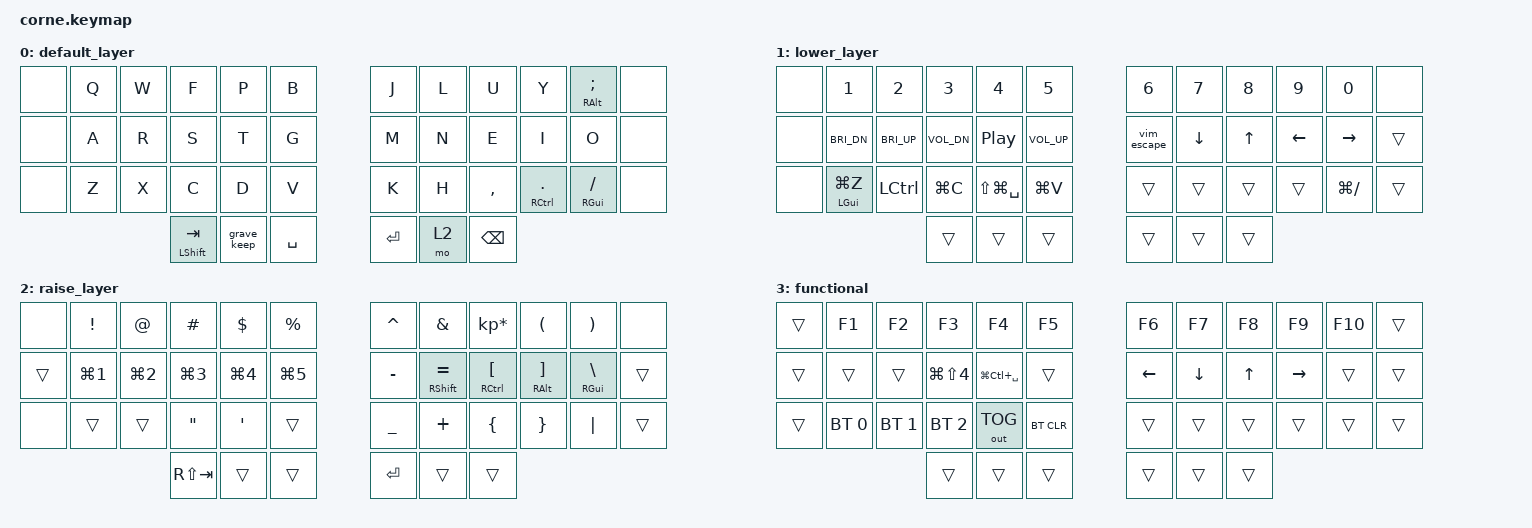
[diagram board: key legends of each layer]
/*
 * Copyright (c) 2020 The ZMK Contributors
 *
 * SPDX-License-Identifier: MIT
 */

#include <behaviors.dtsi>
#include <dt-bindings/zmk/bt.h>
#include <dt-bindings/zmk/keys.h>
#include <dt-bindings/zmk/outputs.h>

/ {
    behaviors {
        hm: homerow_mods {
            compatible = "zmk,behavior-hold-tap";
            label = "HOMEROW_MODS";
            bindings =
                <&kp>,
                <&kp>;

            #binding-cells = <2>;
            tapping-term-ms = <190>;
            quick-tap-ms = <100>;
            flavor = "balanced";
        };
        grave_keep: grave_keep {
            compatible = "zmk,behavior-mod-morph";
            label = "GRAVE_KEEP";
            bindings =
                <&lt_hold 1 ESCAPE>,
                <&kp GRAVE>;

            #binding-cells = <0>;
            mods = <(MOD_LSFT|MOD_LGUI|MOD_RSFT|MOD_RGUI|MOD_RALT|MOD_LALT)>;
            keep-mods = <(MOD_LGUI|MOD_RGUI|MOD_LALT|MOD_LSFT)>;
        };
        lt_hold: lt_hold {
            compatible = "zmk,behavior-hold-tap";
            label = "LT_HOLD";
            bindings =
                <&mo>,
                <&kp>;

            #binding-cells = <2>;
            tapping-term-ms = <400>;
            flavor = "hold-preferred";
        };
        mt_balanced: mt_balanced {
            compatible = "zmk,behavior-hold-tap";
            label = "MT_BALANCED";
            bindings =
                <&kp>,
                <&kp>;

            #binding-cells = <2>;
            tapping-term-ms = <200>;
            quick-tap-ms = <150>;
            flavor = "balanced";
        };
    };

    macros {
        vim_escape: vim_escape {
            compatible = "zmk,behavior-macro";
            label = "vim_escape";
            #binding-cells = <0>;
            bindings = <&kp ESCAPE &kp COLON>;
        };
    };

    conditional_layers {
        compatible = "zmk,conditional-layers";

        tri_layer {
            if-layers = <1 2>;
            then-layer = <3>;
        };
    };

    keymap {
        compatible = "zmk,keymap";

        default_layer {
            // -----------------------------------------------------------------------------------------
            // |  TAB |  Q  |  W  |  F  |  P  |  B  |   |  J  |  L   |  U  |  Y  |  ;  | BKSP |
            // | CTRL |  A  |  R  |  S  |  T  |  G  |   |  M  |  N   |  E  |  I  |  O  |  '   |
            // | SHFT |  Z  |  X  |  C  |  D  |  V  |   |  K  |  H   |  ,  |  .  |  /  | ESC  |
            //                    | GUI | LWR | SPC |   | ENT | RSE  | ALT |

            bindings = <
&none  &kp Q  &kp W               &kp F        &kp P      &kp B      &kp J  &kp L          &kp U          &kp Y  &hm RIGHT_ALT SEMICOLON  &none
&none  &kp A  &kp R               &kp S        &kp T      &kp G      &kp M  &kp N          &kp E          &kp I                    &kp O  &none
&none  &kp Z  &kp X               &kp C        &kp D      &kp V      &kp K  &kp H      &kp COMMA  &hm RCTRL DOT      &hm RIGHT_GUI SLASH  &none
                     &mt LEFT_SHIFT TAB  &grave_keep  &kp SPACE    &kp RET  &mo 2  &kp BACKSPACE
            >;
        };

        lower_layer {
            // -----------------------------------------------------------------------------------------
            // |  TAB |  1  |  2  |  3  |  4  |  5  |   |  6  |  7  |  8  |  9  |  0  | BKSP |
            // | CTRL |  B- |  B+ |  V- |  PP |  V+ |   | LFT | DWN |  UP | RGT |     |      |
            // | SHFT |     |     |     |     |     |   |     |     |     |     |     |      |
            //                    | GUI |     | SPC |   | ENT |     | ALT |

            bindings = <
&none              &kp N1        &kp N2        &kp N3             &kp N4        &kp N5         &kp N6    &kp N7  &kp N8    &kp N9         &kp N0   &none
&none        &kp C_BRI_DN  &kp C_BRI_UP  &kp C_VOL_DN   &kp C_PLAY_PAUSE  &kp C_VOL_UP    &vim_escape  &kp DOWN  &kp UP  &kp LEFT      &kp RIGHT  &trans
&none  &hm LEFT_GUI LG(Z)     &kp LCTRL     &kp LG(C)  &kp LS(LG(SPACE))     &kp LG(V)         &trans    &trans  &trans    &trans  &kp LG(SLASH)  &trans
                                               &trans             &trans        &trans         &trans    &trans  &trans
            >;
        };

        raise_layer {
            // -----------------------------------------------------------------------------------------
            // |  TAB |  !  |  @  |  #  |  $  |  %  |   |  ^  |  &  |  *  |  (  |  )  | BKSP |
            // | BTCLR| BT1 | BT2 | BT3 | BT4 | BT5 |   |  -  |  =  |  [  |  ]  |  \  |  `   |
            // | SHFT | OUT |     |     |     |     |   |  _  |  +  |  {  |  }  | "|" |  ~   |
            //                    | GUI |     | SPC |   | ENT |     | ALT |

            bindings = <
 &none          &kp EXCL            &kp AT           &kp HASH          &kp DLLR         &kp PRCNT    &kp CARET               &kp AMPS                 &kp KP_MULTIPLY            &kp LPAR            &kp RPAR   &none
&trans  &kp LG(NUMBER_1)  &kp LG(NUMBER_2)   &kp LG(NUMBER_3)  &kp LG(NUMBER_4)  &kp LG(NUMBER_5)    &kp MINUS  &hm RIGHT_SHIFT EQUAL  &hm RIGHT_CONTROL LEFT_BRACKET  &hm RIGHT_ALT RBKT  &hm RIGHT_GUI BSLH  &trans
 &none            &trans            &trans  &kp DOUBLE_QUOTES  &kp SINGLE_QUOTE            &trans    &kp UNDER               &kp PLUS                        &kp LBRC            &kp RBRC            &kp PIPE  &trans
                                                  &kp RS(TAB)            &trans            &trans      &kp RET                 &trans                          &trans
            >;
        };

        functional {
            bindings = <
&trans        &kp F1        &kp F2                &kp F3             &kp F4      &kp F5      &kp F6    &kp F7  &kp F8     &kp F9  &kp F10  &trans
&trans        &trans        &trans  &kp LG(LS(NUMBER_4))  &kp LG(LC(SPACE))      &trans    &kp LEFT  &kp DOWN  &kp UP  &kp RIGHT   &trans  &trans
&trans  &bt BT_SEL 0  &bt BT_SEL 1          &bt BT_SEL 2       &out OUT_TOG  &bt BT_CLR      &trans    &trans  &trans     &trans   &trans  &trans
                                                  &trans             &trans      &trans      &trans    &trans  &trans
            >;
        };
    };
};

/ {
    combos {
        compatible = "zmk,combos";
        combo_esc {
            timeout-ms = <50>;
            key-positions = <4 5>;
            bindings = <&kp LEFT_BRACKET>;
        };
    };
};
